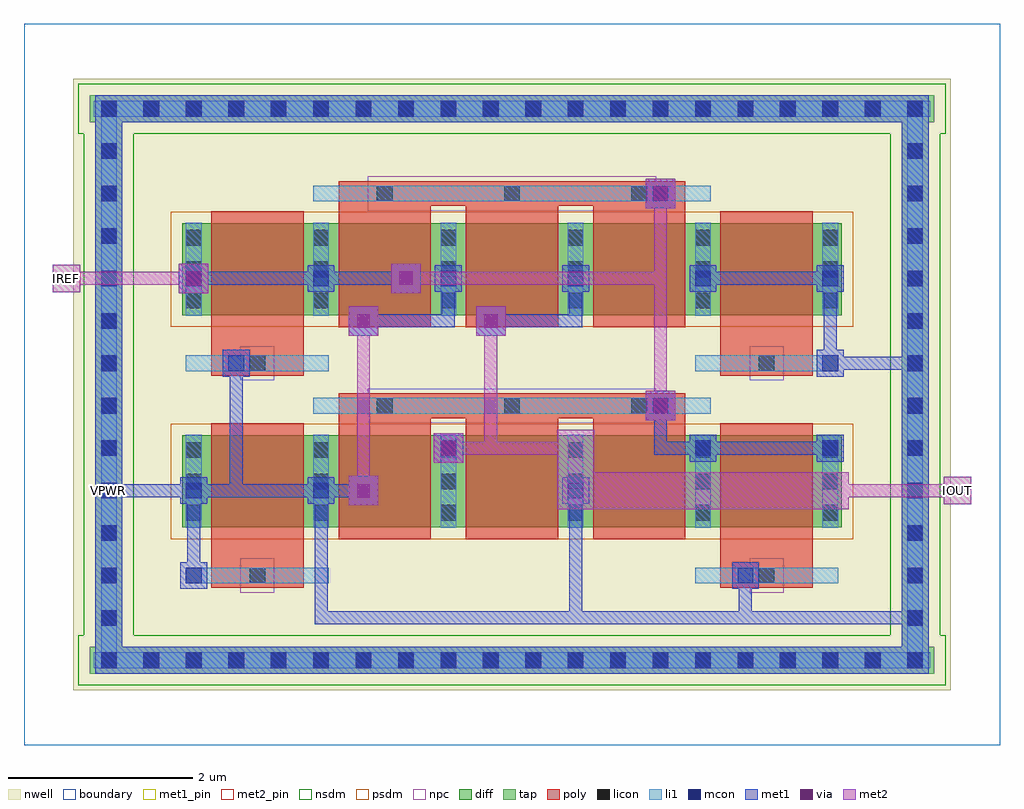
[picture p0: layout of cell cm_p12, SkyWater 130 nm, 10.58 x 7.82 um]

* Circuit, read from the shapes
.subckt cm_p12 IOUT IREF VPWR
XM1 VPWR VPWR VPWR VPWR sky130_fd_pr__pfet_01v8 w=1 l=1 m=2
XM2 IREF VPWR IREF VPWR sky130_fd_pr__pfet_01v8 w=1 l=1 m=2
XM3 IOUT IREF VPWR VPWR sky130_fd_pr__pfet_01v8 w=1 l=1 m=4
XM4 VPWR IREF IREF VPWR sky130_fd_pr__pfet_01v8 w=1 l=1 m=2
.ends

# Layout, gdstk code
import gdstk
lib = gdstk.Library(unit=1e-6, precision=1e-09)
def R(c, l, rs):  # rectangles x0, y0, x1, y1
    for r in rs: c.add(gdstk.rectangle(r[:2], r[2:], *l))
def A(c, l, x, y, w, h, nx, ny, dx, dy):  # array of equal rectangles
    R(c, l, [(x+i*dx, y+j*dy, x+i*dx+w, y+j*dy+h) for i in range(nx) for j in range(ny)])
nwell = (64, 20)
diff = (65, 20)
tap = (65, 44)
poly = (66, 20)
licon = (66, 44)
li1 = (67, 20)
mcon = (67, 44)
met1_pin = (68, 16)
met1 = (68, 20)
via = (68, 44)
met2_pin = (69, 16)
met2 = (69, 20)
nsdm = (93, 44)
psdm = (94, 20)
npc = (95, 20)
boundary = (235, 4)

cm_p12 = lib.new_cell('cm_p12')
R(cm_p12, nwell, [(0.535,0.595,10.045,7.225)])
R(cm_p12, diff, [(1.715,2.36,8.865,3.36), (1.715,4.66,8.865,5.66)])
R(cm_p12, tap, [(0.715,0.775,9.865,1.065), (0.775,0.775,1.065,7.045), (9.515,0.775,9.805,7.045), (0.715,6.755,9.865,7.045)])
A(cm_p12, poly, 3.41, 2.23, 1, 1.45, 3, 2, 1.38, 2.3)
R(cm_p12, poly, [(2.03,1.705,3.03,1.975), (7.55,1.705,8.55,1.975), (2.03,1.84,3.03,3.49), (7.55,1.84,8.55,3.49), (3.41,3.545,7.17,3.815), (2.03,4.005,3.03,4.275), (7.55,4.005,8.55,4.275), (2.03,4.14,3.03,5.79), (7.55,4.14,8.55,5.79), (3.41,5.845,7.17,6.115)])
A(cm_p12, licon, 0.835, 0.835, 0.17, 0.17, 20, 2, 0.46, 5.98)
A(cm_p12, licon, 0.835, 1.295, 0.17, 0.17, 1, 12, 0, 0.46)
A(cm_p12, licon, 9.575, 1.295, 0.17, 0.17, 1, 12, 0, 0.46)
A(cm_p12, licon, 1.755, 2.435, 0.17, 0.17, 6, 3, 1.38, 0.34)
A(cm_p12, licon, 3.825, 3.595, 0.17, 0.17, 3, 2, 1.38, 2.3)
A(cm_p12, licon, 1.755, 4.735, 0.17, 0.17, 6, 3, 1.38, 0.34)
R(cm_p12, licon, [(2.445,1.755,2.615,1.925), (7.965,1.755,8.135,1.925), (2.445,4.055,2.615,4.225), (7.965,4.055,8.135,4.225)])
A(cm_p12, li1, 1.755, 2.355, 0.17, 1.01, 6, 2, 1.38, 2.3)
R(cm_p12, li1, [(0.755,0.835,9.825,1.005), (0.835,0.835,1.005,6.985), (9.575,0.835,9.745,6.985), (1.755,1.755,3.305,1.925), (7.275,1.755,8.825,1.925), (3.135,3.595,7.445,3.765), (1.755,4.055,3.305,4.225), (7.275,4.055,8.825,4.225), (3.135,5.895,7.445,6.065), (0.755,6.815,9.825,6.985)])
A(cm_p12, mcon, 0.835, 0.835, 0.17, 0.17, 20, 2, 0.46, 5.98)
A(cm_p12, mcon, 0.835, 1.295, 0.17, 0.17, 1, 12, 0, 0.46)
A(cm_p12, mcon, 9.575, 1.295, 0.17, 0.17, 1, 12, 0, 0.46)
A(cm_p12, mcon, 1.755, 4.975, 0.17, 0.17, 6, 1, 1.38, 0)
R(cm_p12, mcon, [(1.755,1.755,1.925,1.925), (7.735,1.755,7.905,1.925), (1.755,2.675,1.925,2.845), (3.135,2.675,3.305,2.845), (5.895,2.675,6.065,2.845), (4.515,3.135,4.685,3.305), (7.275,3.135,7.445,3.305), (8.655,3.135,8.825,3.305), (6.815,3.595,6.985,3.765), (2.215,4.055,2.385,4.225), (8.655,4.055,8.825,4.225), (6.815,5.895,6.985,6.065)])
R(cm_p12, met1_pin, [(0.85,2.69,0.99,2.83)])
A(cm_p12, met1, 1.695, 4.915, 0.29, 0.29, 6, 1, 1.38, 0)
R(cm_p12, met1, [(0.775,0.775,9.805,1.065), (0.775,0.775,1.065,7.045), (9.515,0.775,9.805,7.045), (3.15,1.31,3.29,2.83), (3.15,1.31,6.05,1.45), (5.91,1.31,6.05,2.83), (5.91,1.31,7.89,1.45), (7.75,1.31,7.89,1.91), (7.75,1.31,9.73,1.45), (9.59,1.31,9.73,4.21), (1.695,1.695,1.985,1.985), (7.675,1.695,7.965,1.985), (1.77,1.77,1.91,2.83), (3.52,2.6,3.84,2.92), (1.695,2.615,1.985,2.905), (3.075,2.615,3.365,2.905), (5.835,2.615,6.125,2.905), (0.85,2.69,1.91,2.83), (0.85,2.69,0.99,2.83), (0.85,2.69,0.99,6.97), (1.77,2.69,3.29,2.83), (2.23,2.69,2.37,4.21), (3.15,2.69,3.75,2.83), (4.44,3.06,4.76,3.38), (4.455,3.075,4.745,3.365), (7.215,3.075,7.505,3.365), (8.595,3.075,8.885,3.365), (6.83,3.15,7.43,3.29), (6.83,3.15,6.97,3.75), (7.29,3.15,8.81,3.29), (6.74,3.52,7.06,3.84), (6.755,3.535,7.045,3.825), (2.155,3.995,2.445,4.285), (8.595,3.995,8.885,4.285), (8.67,4.07,9.73,4.21), (8.67,4.07,8.81,5.13), (3.52,4.44,3.84,4.76), (4.9,4.44,5.22,4.76), (3.61,4.53,4.67,4.67), (4.53,4.53,4.67,5.13), (4.99,4.53,6.05,4.67), (5.91,4.53,6.05,5.13), (1.68,4.9,2,5.22), (3.98,4.9,4.3,5.22), (1.77,4.99,3.29,5.13), (3.15,4.99,4.21,5.13), (7.29,4.99,8.81,5.13), (6.74,5.82,7.06,6.14), (6.755,5.835,7.045,6.125), (0.775,6.755,9.805,7.045), (0.85,6.83,0.99,6.97)])
R(cm_p12, via, [(3.605,2.685,3.755,2.835), (4.525,3.145,4.675,3.295), (6.825,3.605,6.975,3.755), (3.605,4.525,3.755,4.675), (4.985,4.525,5.135,4.675), (1.765,4.985,1.915,5.135), (4.065,4.985,4.215,5.135), (6.825,5.905,6.975,6.055)])
R(cm_p12, met2_pin, [(9.97,2.61,10.27,2.91), (0.31,4.91,0.61,5.21)])
R(cm_p12, met2, [(5.78,2.56,6.18,3.42), (5.78,2.56,8.94,2.96), (3.52,2.6,3.84,2.92), (9.97,2.61,10.27,2.91), (3.61,2.69,3.75,4.67), (8.67,2.69,10.19,2.83), (10.05,2.69,10.19,2.83), (4.44,3.06,4.76,3.38), (4.53,3.15,5.13,3.29), (4.99,3.15,5.13,4.67), (4.99,3.15,6.05,3.29), (6.74,3.52,7.06,3.84), (6.83,3.61,6.97,6.05), (3.52,4.44,3.84,4.76), (4.9,4.44,5.22,4.76), (1.68,4.9,2,5.22), (3.98,4.9,4.3,5.22), (0.31,4.91,0.61,5.21), (0.39,4.99,0.53,5.13), (0.39,4.99,1.91,5.13), (4.07,4.99,6.97,5.13), (6.74,5.82,7.06,6.14)])
R(cm_p12, nsdm, [(0.59,0.65,9.99,1.19), (0.65,1.19,1.19,6.63), (9.39,1.19,9.93,6.63), (0.59,6.63,9.99,7.17)])
R(cm_p12, psdm, [(1.59,2.235,8.99,3.485), (1.59,4.535,8.99,5.785)])
R(cm_p12, npc, [(2.345,1.655,2.715,2.025), (7.865,1.655,8.235,2.025), (3.725,3.495,6.855,3.865), (2.345,3.955,2.715,4.325), (7.865,3.955,8.235,4.325), (3.725,5.795,6.855,6.165)])
R(cm_p12, boundary, [(0,0,10.58,7.82)])
cm_p12.add(gdstk.Label('VPWR', (0.92,2.76), layer=68, texttype=5))
cm_p12.add(gdstk.Label('IREF', (0.46,5.06), layer=69, texttype=5))
cm_p12.add(gdstk.Label('IOUT', (10.12,2.76), layer=69, texttype=5))
cm_p12.add(gdstk.Label('VPWR', (0.92,2.76), layer=68, texttype=16))
cm_p12.add(gdstk.Label('IREF', (0.46,5.06), layer=69, texttype=16))
cm_p12.add(gdstk.Label('IOUT', (10.12,2.76), layer=69, texttype=16))

lib.write_gds('cm_p12.gds')
